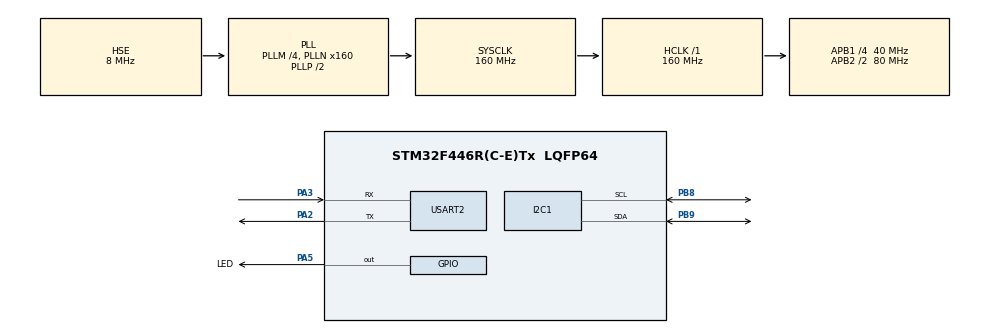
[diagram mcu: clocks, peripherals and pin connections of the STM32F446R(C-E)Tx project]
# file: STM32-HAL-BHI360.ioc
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I2C1.DutyCycle=I2C_DUTYCYCLE_16_9
I2C1.I2C_Mode=I2C_Fast
Mcu.Family=STM32F4
Mcu.Name=STM32F446R(C-E)Tx
Mcu.Package=LQFP64
NVIC.PriorityGroup=NVIC_PRIORITYGROUP_4
PA13.Mode=Serial_Wire
PA13.Signal=SYS_JTMS-SWDIO
PA14.Mode=Serial_Wire
PA14.Signal=SYS_JTCK-SWCLK
PA2.Mode=Asynchronous
PA2.Signal=USART2_TX
PA3.Mode=Asynchronous
PA3.Signal=USART2_RX
PA5.GPIO_Label=LED
PA5.Signal=GPIO_Output
PB8.Mode=I2C
PB8.Signal=I2C1_SCL
PB9.Mode=I2C
PB9.Signal=I2C1_SDA
PH0-OSC_IN.Mode=HSE-External-Oscillator
PH0-OSC_IN.Signal=RCC_OSC_IN
PH1-OSC_OUT.Mode=HSE-External-Oscillator
PH1-OSC_OUT.Signal=RCC_OSC_OUT
ProjectManager.HeapSize=0x200
ProjectManager.StackSize=0x400
ProjectManager.TargetToolchain=STM32CubeIDE
RCC.AHBFreq_Value=160000000
RCC.APB1CLKDivider=RCC_HCLK_DIV4
RCC.APB1Freq_Value=40000000
RCC.APB1TimFreq_Value=80000000
RCC.APB2CLKDivider=RCC_HCLK_DIV2
RCC.APB2Freq_Value=80000000
RCC.APB2TimFreq_Value=160000000
RCC.CortexFreq_Value=160000000
RCC.HCLKFreq_Value=160000000
RCC.HSE_VALUE=8000000
RCC.PLLM=4
RCC.PLLN=160
RCC.PLLSourceVirtual=RCC_PLLSOURCE_HSE
RCC.SYSCLKFreq_VALUE=160000000
RCC.SYSCLKSource=RCC_SYSCLKSOURCE_PLLCLK
RCC.USBFreq_Value=160000000
RCC.VCOOutputFreq_Value=320000000
TIM2.Prescaler=80 - 1
USART2.VirtualMode=VM_ASYNC
VP_TIM2_VS_ClockSourceINT.Mode=Internal
board=custom

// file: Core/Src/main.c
/* USER CODE BEGIN Header */
/**
  ******************************************************************************
  * @file           : main.c
  * @brief          : Main program body
  ******************************************************************************
  * @attention
  *
  * Copyright (c) 2025 STMicroelectronics.
  * All rights reserved.
  *
  * This software is licensed under terms that can be found in the LICENSE file
  * in the root directory of this software component.
  * If no LICENSE file comes with this software, it is provided AS-IS.
  *
  ******************************************************************************
  */
/* USER CODE END Header */
#include "main.h"

/* USER CODE BEGIN Includes */
#include <stdio.h>
#include <stdarg.h>

#include "common.h"
#include "bosch_imu.h"
/* USER CODE END Includes */

/* USER CODE BEGIN PD */

#define SERIAL_DEBUG

/* USER CODE END PD */

I2C_HandleTypeDef hi2c1;

TIM_HandleTypeDef htim2;

UART_HandleTypeDef huart2;

/* USER CODE BEGIN PV */
uint64_t TIM7_ITs = 0; // counter of microseconds timesource ITs

custom_printf_prt my_printf = NULL; // pointer to log output function
custom_printf_prt serial_printf = NULL;

uint64_t last_result = 0;

uint8_t sensor_reports = 0;

uint16_t print_time = 0;

extern float Heading;
extern float Pitch;
extern float Roll;

extern float acc_x;
extern float acc_y;
extern float acc_z;

extern float gyr_x;
extern float gyr_y;
extern float gyr_z;
/* USER CODE END PV */

void SystemClock_Config(void);
static void MX_GPIO_Init(void);
static void MX_I2C1_Init(void);
static void MX_USART2_UART_Init(void);
static void MX_TIM2_Init(void);
/* USER CODE BEGIN PFP */
void UART2_printf( const char * format, ... );
#ifndef SERIAL_DEBUG
void void_func( const char * format, ... );
#endif
/* USER CODE END PFP */

int main(void)
{
  /* USER CODE BEGIN 1 */
  char uart_buf[50];
  int uart_buf_len;
  uint16_t timer_val;
  /* USER CODE END 1 */

  /* MCU Configuration--------------------------------------------------------*/

  /* Reset of all peripherals, Initializes the Flash interface and the Systick. */
  HAL_Init();

  /* Configure the system clock */
  SystemClock_Config();

  /* Initialize all configured peripherals */
  MX_GPIO_Init();
  MX_I2C1_Init();
  MX_USART2_UART_Init();
  MX_TIM2_Init();
  /* USER CODE BEGIN 2 */

  // Say something
//  uart_buf_len = sprintf(uart_buf, "Timer Test\r\n");
//  HAL_UART_Transmit(&huart2, (uint8_t *)uart_buf, uart_buf_len, 100);

  // Start timer
  HAL_TIM_Base_Start(&htim2);
  // Start timer
//  HAL_TIM_Base_Start_IT(&htim2);

//  HAL_GPIO_WritePin(LED_GPIO_Port, LED_Pin, GPIO_PIN_SET);
//  HAL_Delay(1000);
//  HAL_GPIO_WritePin(LED_GPIO_Port, LED_Pin, GPIO_PIN_RESET);
//  HAL_Delay(1000);

//  HAL_TIM_Base_Start_IT(&htim7); // enable microseconds timesource

  // assign desired log info output function
//  my_printf = (custom_printf_prt)UART2_printf;
#ifdef SERIAL_DEBUG
  	my_printf = (custom_printf_prt)UART2_printf;
#else
  my_printf = (custom_printf_prt)void_func;
  serial_printf = (custom_printf_prt)UART2_printf;
#endif
  // clear the terminal screen
  uint8_t form_feed_char = 12;
  HAL_UART_Transmit(&huart2, &form_feed_char, 1, 100);

  bosch_imu_setup();
  /* USER CODE END 2 */

  /* Infinite loop */
  /* USER CODE BEGIN WHILE */
  while (1)
  {
//	  HAL_GPIO_TogglePin(GPIOA, GPIO_PIN_5);
//	  micros_delay(500000);
//	  HAL_UART_Transmit(&huart2, (uint8_t *)uart_buf, uart_buf_len, 100);
//	  my_printf("Test\r\n");

//	// Get current time (microseconds)
//	timer_val = __HAL_TIM_GET_COUNTER(&htim14);
//
//	// Wait for 50 ms
//	HAL_GPIO_WritePin(LED_GPIO_Port, LED_Pin, GPIO_PIN_SET);
//	HAL_Delay(50);
//	HAL_GPIO_WritePin(LED_GPIO_Port, LED_Pin, GPIO_PIN_RESET);
//
//	// Get time elapsed
//	timer_val = __HAL_TIM_GET_COUNTER(&htim14) - timer_val;
//
//	// Show elapsed time
//	uart_buf_len = sprintf(uart_buf, "%u us\r\n", timer_val);
//	HAL_UART_Transmit(&huart2, (uint8_t *)uart_buf, uart_buf_len, 100);
//
//	// Wait again so we don't flood the Serial terminal
//	HAL_Delay(1000);

		if( ( micros() - last_result ) > 2000 )
		{
			sensor_reports = 0;
		}

		// check if all three sensors did report
		if( sensor_reports == 7u )
		{
		  // indicate successfull three sensors reading
//			HAL_GPIO_WritePin(LED_GPIO_Port, LED_Pin, GPIO_PIN_SET);
//			micros_delay(500000);
//			HAL_GPIO_WritePin(LED_GPIO_Port, LED_Pin, GPIO_PIN_RESET);

#ifdef SERIAL_DEBUG
  	my_printf = (custom_printf_prt)UART2_printf;
			if (print_time < 15) {
				print_time++;
			} else {
				// send the data
				my_printf("Euler:\t%4.2f %4.2f %4.2f \r\n", Heading, Pitch, Roll);
				my_printf("Accelerometer:\t%4.2f %4.2f %4.2f \r\n", acc_x, acc_y, acc_z);
				my_printf("Gyro:\t%4.2f %4.2f %4.2f \r\n", gyr_x, gyr_y, gyr_z);

				print_time = 0;
			}
#else
			serial_printf("%4.2f,%4.2f,%4.2f,%4.2f,%4.2f,%4.2f,%4.2f,%4.2f,%4.2f\r\n",
			          acc_x, acc_y, acc_z,
			          gyr_x, gyr_y, gyr_z,
			          Heading, Pitch, Roll);
#endif

			sensor_reports = 0;
		}

		bosch_imu_run();
    /* USER CODE END WHILE */

  }
}

void SystemClock_Config(void)
{
  RCC_OscInitTypeDef RCC_OscInitStruct = {0};
  RCC_ClkInitTypeDef RCC_ClkInitStruct = {0};

  /** Configure the main internal regulator output voltage
  */
  __HAL_RCC_PWR_CLK_ENABLE();
  __HAL_PWR_VOLTAGESCALING_CONFIG(PWR_REGULATOR_VOLTAGE_SCALE1);

  /** Initializes the RCC Oscillators according to the specified parameters
  * in the RCC_OscInitTypeDef structure.
  */
  RCC_OscInitStruct.OscillatorType = RCC_OSCILLATORTYPE_HSE;
  RCC_OscInitStruct.HSEState = RCC_HSE_ON;
  RCC_OscInitStruct.PLL.PLLState = RCC_PLL_ON;
  RCC_OscInitStruct.PLL.PLLSource = RCC_PLLSOURCE_HSE;
  RCC_OscInitStruct.PLL.PLLM = 4;
  RCC_OscInitStruct.PLL.PLLN = 160;
  RCC_OscInitStruct.PLL.PLLP = RCC_PLLP_DIV2;
  RCC_OscInitStruct.PLL.PLLQ = 2;
  RCC_OscInitStruct.PLL.PLLR = 2;
  if (HAL_RCC_OscConfig(&RCC_OscInitStruct) != HAL_OK)
  {
    Error_Handler();
  }

  /** Initializes the CPU, AHB and APB buses clocks
  */
  RCC_ClkInitStruct.ClockType = RCC_CLOCKTYPE_HCLK|RCC_CLOCKTYPE_SYSCLK
                              |RCC_CLOCKTYPE_PCLK1|RCC_CLOCKTYPE_PCLK2;
  RCC_ClkInitStruct.SYSCLKSource = RCC_SYSCLKSOURCE_PLLCLK;
  RCC_ClkInitStruct.AHBCLKDivider = RCC_SYSCLK_DIV1;
  RCC_ClkInitStruct.APB1CLKDivider = RCC_HCLK_DIV4;
  RCC_ClkInitStruct.APB2CLKDivider = RCC_HCLK_DIV2;

  if (HAL_RCC_ClockConfig(&RCC_ClkInitStruct, FLASH_LATENCY_5) != HAL_OK)
  {
    Error_Handler();
  }
}

static void MX_I2C1_Init(void)
{

  hi2c1.Instance = I2C1;
  hi2c1.Init.ClockSpeed = 400000;
  hi2c1.Init.DutyCycle = I2C_DUTYCYCLE_16_9;
  hi2c1.Init.OwnAddress1 = 0;
  hi2c1.Init.AddressingMode = I2C_ADDRESSINGMODE_7BIT;
  hi2c1.Init.DualAddressMode = I2C_DUALADDRESS_DISABLE;
  hi2c1.Init.OwnAddress2 = 0;
  hi2c1.Init.GeneralCallMode = I2C_GENERALCALL_DISABLE;
  hi2c1.Init.NoStretchMode = I2C_NOSTRETCH_DISABLE;
  if (HAL_I2C_Init(&hi2c1) != HAL_OK)
  {
    Error_Handler();
  }

}

static void MX_TIM2_Init(void)
{

  TIM_ClockConfigTypeDef sClockSourceConfig = {0};
  TIM_MasterConfigTypeDef sMasterConfig = {0};

  htim2.Instance = TIM2;
  htim2.Init.Prescaler = 80 - 1;
  htim2.Init.CounterMode = TIM_COUNTERMODE_UP;
  htim2.Init.Period = 4294967295;
  htim2.Init.ClockDivision = TIM_CLOCKDIVISION_DIV1;
  htim2.Init.AutoReloadPreload = TIM_AUTORELOAD_PRELOAD_DISABLE;
  if (HAL_TIM_Base_Init(&htim2) != HAL_OK)
  {
    Error_Handler();
  }
  sClockSourceConfig.ClockSource = TIM_CLOCKSOURCE_INTERNAL;
  if (HAL_TIM_ConfigClockSource(&htim2, &sClockSourceConfig) != HAL_OK)
  {
    Error_Handler();
  }
  sMasterConfig.MasterOutputTrigger = TIM_TRGO_RESET;
  sMasterConfig.MasterSlaveMode = TIM_MASTERSLAVEMODE_DISABLE;
  if (HAL_TIMEx_MasterConfigSynchronization(&htim2, &sMasterConfig) != HAL_OK)
  {
    Error_Handler();
  }

}

static void MX_USART2_UART_Init(void)
{

  huart2.Instance = USART2;
  huart2.Init.BaudRate = 115200;
  huart2.Init.WordLength = UART_WORDLENGTH_8B;
  huart2.Init.StopBits = UART_STOPBITS_1;
  huart2.Init.Parity = UART_PARITY_NONE;
  huart2.Init.Mode = UART_MODE_TX_RX;
  huart2.Init.HwFlowCtl = UART_HWCONTROL_NONE;
  huart2.Init.OverSampling = UART_OVERSAMPLING_16;
  if (HAL_UART_Init(&huart2) != HAL_OK)
  {
    Error_Handler();
  }

}

static void MX_GPIO_Init(void)
{
  GPIO_InitTypeDef GPIO_InitStruct = {0};

  /* GPIO Ports Clock Enable */
  __HAL_RCC_GPIOH_CLK_ENABLE();
  __HAL_RCC_GPIOA_CLK_ENABLE();
  __HAL_RCC_GPIOB_CLK_ENABLE();

  /*Configure GPIO pin Output Level */
  HAL_GPIO_WritePin(LED_GPIO_Port, LED_Pin, GPIO_PIN_RESET);

  /*Configure GPIO pin : LED_Pin */
  GPIO_InitStruct.Pin = LED_Pin;
  GPIO_InitStruct.Mode = GPIO_MODE_OUTPUT_PP;
  GPIO_InitStruct.Pull = GPIO_NOPULL;
  GPIO_InitStruct.Speed = GPIO_SPEED_FREQ_LOW;
  HAL_GPIO_Init(LED_GPIO_Port, &GPIO_InitStruct);

}

/* USER CODE BEGIN 4 */

int8_t bhy2_i2c_read(uint8_t reg_addr, uint8_t *reg_data, uint32_t length, void *intf_ptr)
{
  (void)intf_ptr;

  if( HAL_I2C_Mem_Read(&hi2c1, 0x28<<1, reg_addr, I2C_MEMADD_SIZE_8BIT, reg_data, (uint16_t)length, 100) == HAL_OK )
  {
    return 0;
  }
  else
  {
    return 1;
  }
}

int8_t bhy2_i2c_write(uint8_t reg_addr,const uint8_t *reg_data, uint32_t length, void *intf_ptr)
{
  (void)intf_ptr;

  if( HAL_I2C_Mem_Write(&hi2c1, 0x28<<1, reg_addr, I2C_MEMADD_SIZE_8BIT, (uint8_t *)reg_data, (uint16_t)length, 100) == HAL_OK )
  {
    return 0;
  }
  else
  {
    return 1;
  }
}

void bhy2_delay_us(uint32_t us, void *private_data)
{
  (void)private_data;
  micros_delay( (uint64_t)us );
}

void HAL_TIM_PeriodElapsedCallback(TIM_HandleTypeDef *htim)
{
  if( htim->Instance == TIM7 )
  {
    TIM7_ITs++;
  }
  // Check which version of the timer triggered this callback and toggle LED
  if (htim == &htim2)
  {
    HAL_GPIO_TogglePin(GPIOA, GPIO_PIN_5);
  }
}

uint64_t micros(void)
{
	__IO uint32_t usTicks = __HAL_TIM_GET_COUNTER(&htim2);
	return usTicks;
}

void micros_delay( uint64_t delay )
{
	__IO uint32_t usTicks = __HAL_TIM_GET_COUNTER(&htim2) + delay;
	while ( __HAL_TIM_GET_COUNTER(&htim2) < usTicks );
}

//#pragma optimize s=none
//uint64_t micros(void)
//{
//	return 1;
////  return (uint64_t)(__HAL_TIM_GET_COUNTER(&htim7) + 50000u * TIM7_ITs);
//}
//
//#pragma optimize s=none
//void micros_delay( uint64_t delay )
//{
//  uint64_t timestamp = micros();
//  while( micros() < timestamp + delay );
//}

#ifndef SERIAL_DEBUG
void void_func( const char * format, ... ) {}
#endif

void UART2_printf( const char * format, ... )
{
  char buffer[256] = {0};
  va_list args;
  va_start (args, format);
  int len = vsprintf (buffer,format, args);
  va_end (args);

  HAL_UART_Transmit(&huart2, (const uint8_t*)buffer, len, 100);
}

/* USER CODE END 4 */

void Error_Handler(void)
{
  __disable_irq();
  while (1)
  {
  }
}
